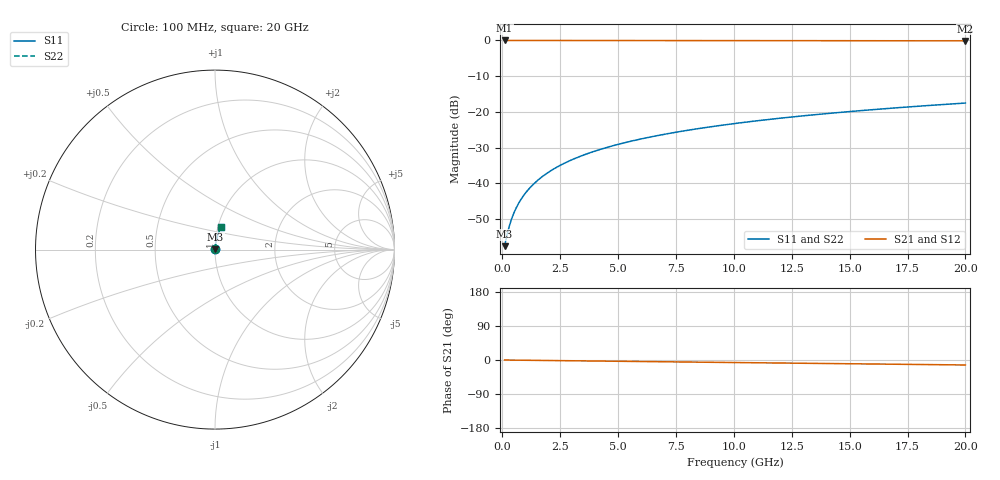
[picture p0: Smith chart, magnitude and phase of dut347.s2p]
! Touchstone file exported from HFSS 2026.1.0
!  File:  C:/ffzhzh/LocalFiles/Ansys_Project_Files/temp_train_TMRDL_347_1783003929_51716.aedt
!  Generated:  10:53:25 PM Jul  2, 2026
!  Design:  TMRDL
!  Project:  temp_train_TMRDL_347_1783003929_51716
! Variables:
!  h_bsmrdl = 2um
!  h_ox = 20um
!  h_rdl = 5um
!  h_sub = 80um
!  h_tmrdl = 5.25um
!  h_tsv = 80um
!  h_via = 3um
!  l_bsmrdl = 300um
!  l_sub = 573.19um
!  l_tmrdl = 173.19um
!  m_sub = 200um
!  pitch = 31.85um
!  r_tsv = 6um
!  s_tmrdl = 10um
!  w_bsmrdl = 18um
!  w_sub = 500um
!  w_tmrdl = 11.96um
!  x_tsv_center1 = 179.17um
!  x_tsv_center2 = 497.17um
!  x_tsv_center3 = 682.32um
!  x_tsv_center4 = 1000.32um
!  x_tsv_center5 = 1185.47um
!  x_tsv_center6 = 1503.47um
# GHz S MA R 50.000000
! Terminal data exported
! Port[1] = TM_RDL1_1_T1
! Port[2] = TM_RDL1_1_T2
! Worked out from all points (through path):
!   200 points, 100 MHz to 20 GHz, reference 50 ohm
!   highest |S21| = -0.01 dB at 100 MHz (marker M1); lowest = -0.1 dB at 20 GHz (marker M2)
!   group delay of S21, straight-line fit = 1.82 ps
!   lowest |S11| = -57.6 dB at 100 MHz (marker M3), VSWR 1.00, Z = 50.1 + j0.0761 ohm
!   |S11| at or under -10 dB: start of sweep to end of sweep
!   |S22| runs from -57.6 to -17.5 dB; largest |S21 - S12| = 2.3e-15
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0.1  0.001322 35.1  0.9989 -0.1  0.9989 -0.1  0.001322 35.1
! Gamma 0 0 0 0
! Port Impedance 50 0 50 0
0.2  0.001871 53.4  0.9989 -0.1  0.9989 -0.1  0.001871 53.4
0.3  0.002507 62.6  0.9989 -0.2  0.9989 -0.2  0.002507 62.6
0.4  0.003171 68.0  0.9988 -0.3  0.9988 -0.3  0.003171 68.0
0.5  0.003847 71.5  0.9988 -0.3  0.9988 -0.3  0.003847 71.5
0.6  0.004531 74.0  0.9988 -0.4  0.9988 -0.4  0.004531 74.0
0.8  0.005916 77.3  0.9987 -0.6  0.9987 -0.6  0.005916 77.3
1.1  0.008015 80.0  0.9987 -0.8  0.9987 -0.8  0.008015 80.0
1.5  0.01083 81.8  0.9986 -1.0  0.9986 -1.0  0.01083 81.8
1.8  0.01294 82.5  0.9985 -1.2  0.9985 -1.2  0.01294 82.5
2.1  0.01505 82.9  0.9984 -1.4  0.9984 -1.4  0.01505 82.9
2.7  0.01926 83.3  0.9982 -1.8  0.9982 -1.8  0.01926 83.3
3.5  0.02483 83.4  0.9979 -2.4  0.9979 -2.4  0.02483 83.4
4.2  0.02965 83.2  0.9975 -2.8  0.9975 -2.8  0.02965 83.2
5  0.03512 82.9  0.9971 -3.4  0.9971 -3.4  0.03512 82.9
5.9  0.04122 82.5  0.9966 -4.0  0.9966 -4.0  0.04122 82.5
6.8  0.04727 82.1  0.9961 -4.6  0.9961 -4.6  0.04727 82.1
8.3  0.05727 81.3  0.9952 -5.6  0.9952 -5.6  0.05727 81.3
10.1  0.06916 80.4  0.9941 -6.7  0.9941 -6.7  0.06916 80.4
13.4  0.09073 78.5  0.9918 -8.9  0.9918 -8.9  0.09073 78.5
16.7  0.112 76.7  0.9892 -11.0  0.9892 -11.0  0.112 76.7
20  0.133 74.7  0.9862 -13.1  0.9862 -13.1  0.133 74.7
